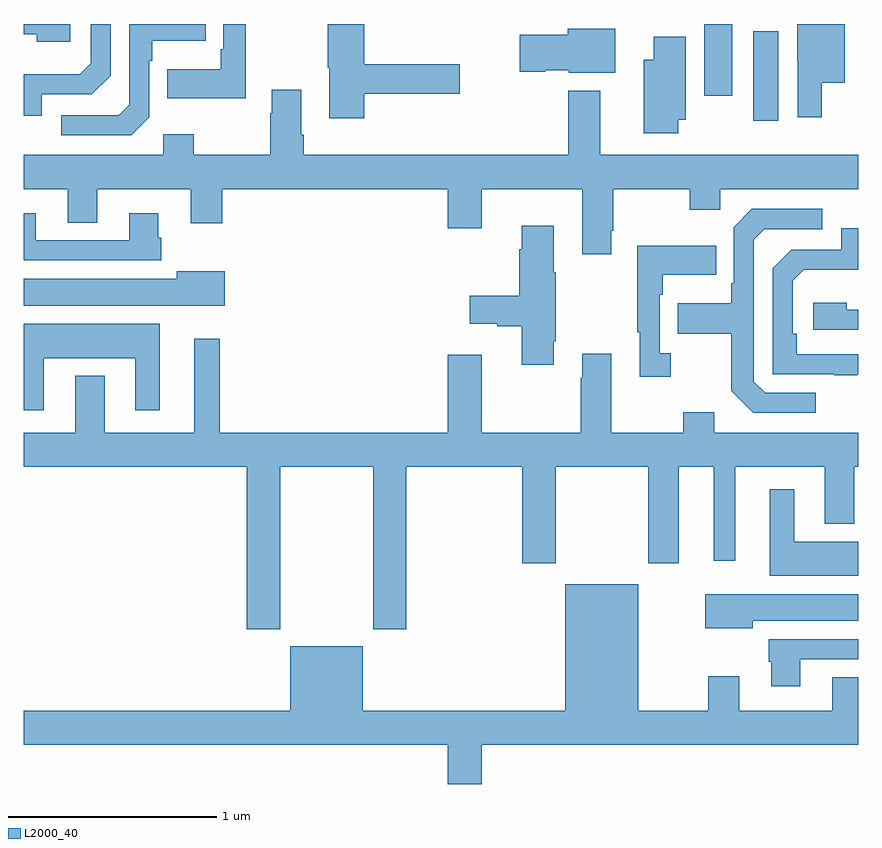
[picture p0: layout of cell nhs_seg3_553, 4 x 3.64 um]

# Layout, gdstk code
import gdstk
lib = gdstk.Library(unit=1e-6, precision=1e-09)
def R(c, l, rs):  # rectangles x0, y0, x1, y1
    for r in rs: c.add(gdstk.rectangle(r[:2], r[2:], *l))
def P(c, l, *ps):  # polygons
    for p in ps: c.add(gdstk.Polygon(p, *l))
L2000_40 = (2000, 40)

nhs_seg3_553 = lib.new_cell('nhs_seg3_553')
R(nhs_seg3_553, L2000_40, [(142.496,675.936,142.618,676.366), (142.262,676.056,142.396,676.4)])
P(nhs_seg3_553, L2000_40, [(142.826,676.118),(142.936,676.118),(142.936,676.4),(142.709,676.4),(142.709,676.222),(142.71,676.222),(142.71,675.954),(142.826,675.954)],
  [(140.065,676.4),(139.956,676.4),(139.956,676.279),(139.944,676.279),(139.944,676.183),(139.687,676.183),(139.687,676.043),(140.065,676.043)],
  [(140.633,676.066),(141.091,676.066),(141.091,676.208),(140.633,676.208),(140.633,676.4),(140.458,676.4),(140.458,676.191),(140.465,676.191),(140.465,675.948),(140.633,675.948)],
  [(139.086,676.062),(139.326,676.062),(139.416,676.152),(139.416,676.4),(139.32,676.4),(139.32,676.212),(139.267,676.159),(139,676.159),(139,675.96),(139.086,675.96)],
  [(139.222,676.4),(139,676.4),(139,676.35),(139.061,676.35),(139.061,676.316),(139.222,676.316)],
  [(139.602,675.954),(139.602,676.223),(139.615,676.223),(139.615,676.319),(139.871,676.319),(139.871,676.4),(139.506,676.4),(139.506,676.014),(139.455,675.963),(139.179,675.963),(139.179,675.867),(139.515,675.867)],
  [(141.835,676.378),(141.608,676.378),(141.608,676.349),(141.378,676.349),(141.378,676.171),(141.501,676.171),(141.501,676.178),(141.612,676.178),(141.612,676.166),(141.835,676.166)],
  [(142.137,675.941),(142.174,675.941),(142.174,676.339),(142.019,676.339),(142.019,676.228),(141.971,676.228),(141.971,675.876),(142.137,675.876)],
  [(139.668,675.871),(139.668,675.772),(139,675.772),(139,675.608),(139.211,675.608),(139.211,675.448),(139.351,675.448),(139.351,675.608),(139.799,675.608),(139.799,675.444),(139.952,675.444),(139.952,675.608),(141.032,675.608),(141.032,675.42),(141.196,675.42),(141.196,675.608),(141.677,675.608),(141.677,675.297),(141.817,675.297),(141.817,675.409),(141.825,675.409),(141.825,675.608),(142.192,675.608),(142.192,675.509),(142.338,675.509),(142.338,675.608),(143,675.608),(143,675.772),(141.763,675.772),(141.763,676.081),(141.611,676.081),(141.611,675.772),(140.342,675.772),(140.342,675.868),(140.329,675.868),(140.329,676.084),(140.189,676.084),(140.189,675.971),(140.182,675.971),(140.182,675.772),(139.815,675.772),(139.815,675.871)],
  [(142.798,674.631),(142.554,674.631),(142.5,674.685),(142.5,675.366),(142.551,675.417),(142.828,675.417),(142.828,675.513),(142.491,675.513),(142.404,675.426),(142.404,675.157),(142.392,675.157),(142.392,675.061),(142.135,675.061),(142.135,674.914),(142.392,674.914),(142.392,674.641),(142.497,674.535),(142.798,674.535)],
  [(139.658,675.375),(139.645,675.375),(139.645,675.493),(139.505,675.493),(139.505,675.363),(139.057,675.363),(139.057,675.493),(139,675.493),(139,675.267),(139.658,675.267)],
  [(141.541,674.878),(141.549,674.878),(141.549,675.209),(141.541,675.209),(141.541,675.433),(141.386,675.433),(141.386,675.32),(141.374,675.32),(141.374,675.098),(141.138,675.098),(141.138,674.963),(141.27,674.963),(141.27,674.951),(141.386,674.951),(141.386,674.766),(141.541,674.766)],
  [(142.997,674.721),(143,674.721),(143,674.817),(142.706,674.817),(142.706,674.914),(142.686,674.914),(142.686,675.168),(142.739,675.221),(143,675.221),(143,675.42),(142.92,675.42),(142.92,675.318),(142.68,675.318),(142.59,675.228),(142.59,674.721),(142.885,674.721),(142.885,674.716),(142.997,674.716)],
  [(142.102,674.822),(142.05,674.822),(142.05,675.101),(142.063,675.101),(142.063,675.197),(142.319,675.197),(142.319,675.337),(141.942,675.337),(141.942,674.921),(141.953,674.921),(141.953,674.709),(142.102,674.709)],
  [(139.963,675.214),(139.733,675.214),(139.733,675.178),(139,675.178),(139,675.05),(139.963,675.05)],
  [(143,675.03),(142.946,675.03),(142.946,675.064),(142.785,675.064),(142.785,674.934),(143,674.934)],
  [(139.096,674.798),(139.535,674.798),(139.535,674.547),(139.651,674.547),(139.651,674.962),(139,674.962),(139,674.547),(139.096,674.547)],
  [(142.309,674.539),(142.162,674.539),(142.162,674.44),(141.817,674.44),(141.817,674.818),(141.677,674.818),(141.677,674.705),(141.67,674.705),(141.67,674.44),(141.196,674.44),(141.196,674.815),(141.032,674.815),(141.032,674.44),(139.939,674.44),(139.939,674.89),(139.817,674.89),(139.817,674.44),(139.387,674.44),(139.387,674.713),(139.247,674.713),(139.247,674.44),(139,674.44),(139,674.276),(140.069,674.276),(140.069,673.497),(140.229,673.497),(140.229,674.276),(140.674,674.276),(140.674,673.497),(140.834,673.497),(140.834,674.276),(141.389,674.276),(141.389,673.815),(141.549,673.815),(141.549,674.276),(141.994,674.276),(141.994,673.815),(142.141,673.815),(142.141,674.276),(142.307,674.276),(142.307,673.827),(142.411,673.827),(142.411,674.276),(142.841,674.276),(142.841,674.003),(142.981,674.003),(142.981,674.276),(143,674.276),(143,674.44),(142.309,674.44)],
  [(143,673.918),(142.693,673.918),(142.693,674.17),(142.577,674.17),(142.577,673.754),(143,673.754)],
  [(141.196,672.944),(143,672.944),(143,673.268),(142.877,673.268),(142.877,673.108),(142.429,673.108),(142.429,673.273),(142.282,673.273),(142.282,673.108),(141.946,673.108),(141.946,673.714),(141.596,673.714),(141.596,673.108),(140.626,673.108),(140.626,673.417),(140.276,673.417),(140.276,673.108),(139,673.108),(139,672.944),(141.032,672.944),(141.032,672.756),(141.196,672.756)],
  [(142.495,673.538),(143,673.538),(143,673.666),(142.266,673.666),(142.266,673.502),(142.495,673.502)],
  [(142.723,673.353),(143,673.353),(143,673.449),(142.571,673.449),(142.571,673.341),(142.583,673.341),(142.583,673.224),(142.723,673.224)])

lib.write_gds('nhs_seg3_553.gds')
